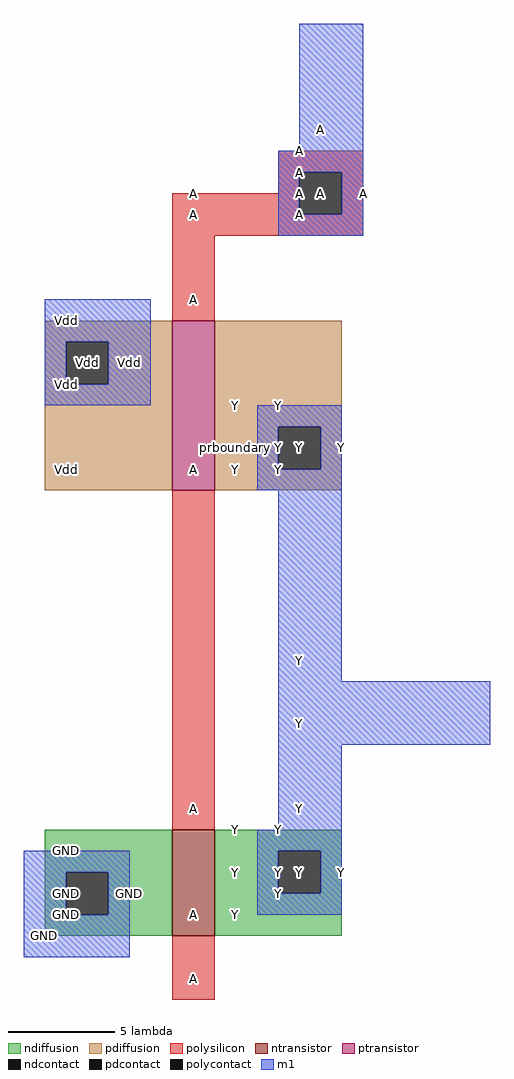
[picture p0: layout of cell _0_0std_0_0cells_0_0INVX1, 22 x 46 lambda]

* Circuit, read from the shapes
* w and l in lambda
.subckt _0_0std_0_0cells_0_0INVX1 Y A
M1 Y A GND VSUBS nfet w=5 l=2
M2 Y A Vdd NWELL pfet w=8 l=2
.ends

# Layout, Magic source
magic
tech TSMC180
<< ndiffusion >>
rect 6 10 12 12
rect 6 8 7 10
rect 9 8 12 10
rect 6 7 12 8
rect 14 11 20 12
rect 14 9 17 11
rect 19 9 20 11
rect 14 7 20 9
<< ndcontact >>
rect 7 8 9 10
rect 17 9 19 11
<< ntransistor >>
rect 12 7 14 12
<< pdiffusion >>
rect 6 35 12 36
rect 6 33 7 35
rect 9 33 12 35
rect 6 28 12 33
rect 14 31 20 36
rect 14 29 17 31
rect 19 29 20 31
rect 14 28 20 29
<< pdcontact >>
rect 7 33 9 35
rect 17 29 19 31
<< ptransistor >>
rect 12 28 14 36
<< polysilicon >>
rect 17 43 21 44
rect 17 42 18 43
rect 12 41 18 42
rect 20 41 21 43
rect 12 40 21 41
rect 12 36 14 40
rect 12 12 14 28
rect 12 4 14 7
<< polycontact >>
rect 18 41 20 43
<< m1 >>
rect 18 44 21 50
rect 17 43 21 44
rect 17 41 18 43
rect 20 41 21 43
rect 17 40 21 41
rect 6 35 11 37
rect 6 33 7 35
rect 9 33 11 35
rect 6 32 11 33
rect 16 31 20 32
rect 16 29 17 31
rect 19 29 20 31
rect 16 28 20 29
rect 17 19 20 28
rect 17 16 27 19
rect 17 12 20 16
rect 16 11 20 12
rect 5 10 10 11
rect 5 8 7 10
rect 9 8 10 10
rect 16 9 17 11
rect 19 9 20 11
rect 16 8 20 9
rect 5 6 10 8
<< labels >>
rlabel space 0 0 30 60 6 prboundary
rlabel polysilicon 18 43 18 43 3 A
rlabel ndiffusion 15 8 15 8 3 Y
rlabel ndiffusion 15 10 15 10 3 Y
rlabel ndiffusion 15 12 15 12 3 Y
rlabel pdiffusion 15 29 15 29 3 Y
rlabel pdiffusion 15 30 15 30 3 Y
rlabel pdiffusion 15 32 15 32 3 Y
rlabel polysilicon 13 5 13 5 3 A
rlabel ntransistor 13 8 13 8 3 A
rlabel polysilicon 13 13 13 13 3 A
rlabel ptransistor 13 29 13 29 3 A
rlabel polysilicon 13 37 13 37 3 A
rlabel polysilicon 13 41 13 41 3 A
rlabel polysilicon 13 42 13 42 3 A
rlabel ndiffusion 7 8 7 8 3 GND
rlabel ndiffusion 7 9 7 9 3 GND
rlabel ndiffusion 7 11 7 11 3 GND
rlabel pdiffusion 7 29 7 29 3 Vdd
rlabel m1 20 10 20 10 3 Y
port 1 e
rlabel ndcontact 18 10 18 10 3 Y
port 1 e
rlabel m1 21 42 21 42 3 A
port 2 e
rlabel m1 17 9 17 9 3 Y
port 1 e
rlabel m1 17 10 17 10 3 Y
port 1 e
rlabel m1 20 30 20 30 3 Y
port 1 e
rlabel polycontact 19 42 19 42 3 A
port 2 e
rlabel m1 19 45 19 45 3 A
port 2 e
rlabel m1 18 13 18 13 3 Y
port 1 e
rlabel m1 18 17 18 17 3 Y
port 1 e
rlabel m1 18 20 18 20 3 Y
port 1 e
rlabel pdcontact 18 30 18 30 3 Y
port 1 e
rlabel m1 10 34 10 34 3 Vdd
rlabel m1 18 41 18 41 3 A
port 2 e
rlabel m1 18 42 18 42 3 A
port 2 e
rlabel m1 18 44 18 44 3 A
port 2 e
rlabel m1 10 9 10 9 3 GND
rlabel m1 17 12 17 12 3 Y
port 1 e
rlabel m1 17 29 17 29 3 Y
port 1 e
rlabel m1 17 30 17 30 3 Y
port 1 e
rlabel m1 17 32 17 32 3 Y
port 1 e
rlabel pdcontact 8 34 8 34 3 Vdd
rlabel ndcontact 8 9 8 9 3 GND
rlabel m1 7 33 7 33 3 Vdd
rlabel m1 7 34 7 34 3 Vdd
rlabel m1 7 36 7 36 3 Vdd
rlabel m1 6 7 6 7 3 GND
rlabel m1 6 9 6 9 3 GND
rlabel m1 6 11 6 11 3 GND
<< end >>
